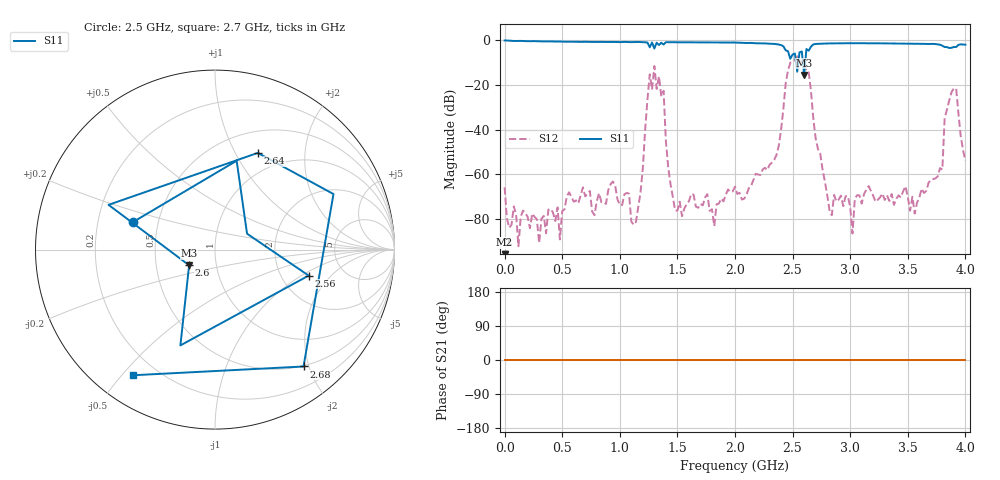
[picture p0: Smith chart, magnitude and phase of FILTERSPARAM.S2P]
!Agilent Technologies,E5071C,MY46107436,A.09.30
!Date: Tue Mar 06 21:07:36 2018
!Data & Calibration Information:
!Freq	S11:NONE(--)	S21:NONE(--)	S12:NONE(--)	S22:NONE(--)
# Hz S dB R 50
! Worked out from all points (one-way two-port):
!   201 points, 300 kHz to 4 GHz, reference 50 ohm
!   highest |S21| = - dB at 300 kHz (marker M1); lowest = - dB at 300 kHz (marker M2)
!   lowest |S11| = -15.5 dB at 2.6 GHz (marker M3), VSWR 1.41, Z = 36.9 - j6.64 ohm
!   |S11| at or under -10 dB: 2.53 GHz to 2.549 GHz (19.06 MHz wide, 0.751 % of centre); 2.59 GHz to 2.609 GHz (19.75 MHz wide, 0.76 % of centre)
!   |S22| runs from - to - dB; largest |S21 - S12| = 0.44
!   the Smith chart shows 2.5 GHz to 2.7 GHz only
!   S11 on the Smith chart (normalised r, x): 2.5 GHz: 0.36, +0.14; 2.56 GHz: 2.83, -1.16; 2.6 GHz: 0.74, -0.13; 2.64 GHz: 0.75, +1.24; 2.68 GHz: 0.49, -1.91; 2.7 GHz: 0.12, -0.54
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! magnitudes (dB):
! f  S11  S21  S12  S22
! 300 kHz  0.0  -  -66.0  -
! 20.3 MHz  0.0  -  -79.9  -
! 480.3 MHz  -0.5  -  -89.3  -
! 680.2 MHz  -0.6  -  -66.0  -
! 1.14 GHz  -0.7  -  -81.5  -
! 1.26 GHz  -3.1  -  -15.2  -
! 1.34 GHz  -2.0  -  -16.1  -
! 1.48 GHz  -0.8  -  -76.3  -
! 2 GHz  -0.9  -  -65.7  -
! 2.36 GHz  -1.7  -  -51.4  -
! 2.5 GHz  -6.3  -  -9.2  -
! 2.56 GHz  -5.3  -  -9.0  -
! 2.6 GHz  -15.5  -  -8.6  -
! 2.64 GHz  -4.6  -  -14.3  -
! 2.68 GHz  -1.8  -  -35.1  -
! 2.7 GHz  -1.6  -  -43.9  -
! 2.84 GHz  -1.3  -  -78.5  -
! 3.34 GHz  -1.3  -  -72.1  -
! 3.8 GHz  -2.3  -  -58.0  -
! 3.82 GHz  -2.9  -  -34.8  -
! 3.9 GHz  -2.9  -  -21.5  -
! 4 GHz  -1.9  -  -53.9  -
